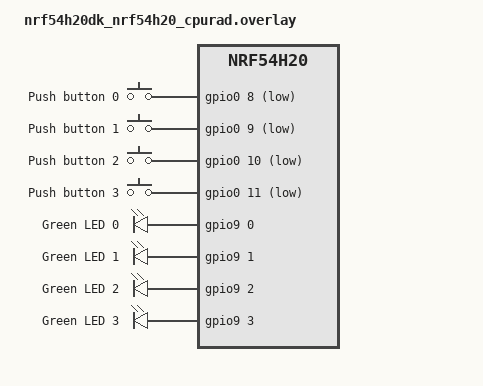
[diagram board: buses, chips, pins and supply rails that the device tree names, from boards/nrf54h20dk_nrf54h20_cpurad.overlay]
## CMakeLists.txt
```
#
# Copyright (c) 2018 Nordic Semiconductor
#
# SPDX-License-Identifier: LicenseRef-Nordic-5-Clause
#
cmake_minimum_required(VERSION 3.20.0)
list(APPEND EXTRA_ZEPHYR_MODULES
  ${CMAKE_CURRENT_SOURCE_DIR}/../custom_driver_module)

find_package(Zephyr REQUIRED HINTS $ENV{ZEPHYR_BASE})
project(nrf5340)

# Add nanopb support for protobuf
list(APPEND CMAKE_MODULE_PATH ${ZEPHYR_BASE}/modules/nanopb)
include(nanopb)

set(LVGL_DIR ${ZEPHYR_LVGL_MODULE_DIR})
FILE(GLOB app_sources src/*.c)
target_include_directories(app PRIVATE ${CMAKE_CURRENT_SOURCE_DIR}/src/.)
target_include_directories(app PRIVATE ${LVGL_DIR}/demos/)

# NORDIC SDK APP START
target_sources(app PRIVATE
  src/main.c
  src/protobuf_handler.c
)

# Add protobuf sources when available
if(EXISTS ${CMAKE_CURRENT_SOURCE_DIR}/src/mentraos_ble.pb.c)
  target_sources(app PRIVATE src/mentraos_ble.pb.c)
endif()

add_subdirectory(src/BspLog)
add_subdirectory(src/mos_components/mos_sysport)
add_subdirectory(src/mos_components/mos_lvgl_display)


target_sources_ifdef(CONFIG_LV_USE_DEMO_BENCHMARK app PRIVATE
    ${LVGL_DIR}/demos/benchmark/assets/img_benchmark_avatar.c
    ${LVGL_DIR}/demos/benchmark/assets/img_benchmark_lvgl_logo_argb.c
    ${LVGL_DIR}/demos/benchmark/assets/img_benchmark_lvgl_logo_rgb.c
    ${LVGL_DIR}/demos/benchmark/assets/lv_font_benchmark_montserrat_12_compr_az.c.c
    ${LVGL_DIR}/demos/benchmark/assets/lv_font_benchmark_montserrat_16_compr_az.c.c
    ${LVGL_DIR}/demos/benchmark/assets/lv_font_benchmark_montserrat_28_compr_az.c.c
    ${LVGL_DIR}/demos/benchmark/lv_demo_benchmark.c
)

target_sources_ifdef(CONFIG_LV_USE_DEMO_WIDGETS app PRIVATE
    ${LVGL_DIR}/demos/widgets/assets/img_clothes.c
    ${LVGL_DIR}/demos/widgets/assets/img_demo_widgets_avatar.c
    ${LVGL_DIR}/demos/widgets/assets/img_demo_widgets_needle.c
    ${LVGL_DIR}/demos/widgets/assets/img_lvgl_logo.c
    ${LVGL_DIR}/demos/widgets/lv_demo_widgets.c
)

zephyr_library_include_directories(.)
# NORDIC SDK APP END
```

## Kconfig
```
#
# Copyright (c) 2018 Nordic Semiconductor
#
# SPDX-License-Identifier: LicenseRef-Nordic-5-Clause
#

source "Kconfig.zephyr"


menu "Nordic UART BLE GATT service sample"

config BT_NUS_THREAD_STACK_SIZE
	int "Thread stack size"
	default 1024
	help
	  Stack size used in each of the two threads

config BT_NUS_UART_BUFFER_SIZE
	int "UART payload buffer element size"
	default 40
	help
	  Size of the payload buffer in each RX and TX FIFO element

config BT_NUS_SECURITY_ENABLED
	bool "Enable security"
	default y
	select BT_SMP
	help
	  "Enable BLE security for the UART service"

config BT_NUS_UART_RX_WAIT_TIME
	int "Timeout for UART RX complete event"
	default 50000
	help
	  Wait for RX complete event time in microseconds

config SETTINGS
	default y

config ZMS
	default y if (SOC_FLASH_NRF_RRAM || SOC_FLASH_NRF_MRAM)

config NVS
	default y if !(SOC_FLASH_NRF_RRAM || SOC_FLASH_NRF_MRAM)

config LV_Z_DEMO_BENCHMARK
	bool "LVGL benchmark demo"
	select LV_USE_DEMO_BENCHMARK
	select LV_USE_DEMO_WIDGETS
	help
	  Build benchmarking demo application.

endmenu
```

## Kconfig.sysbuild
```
#
# Copyright (c) 2023 Nordic Semiconductor
#
# SPDX-License-Identifier: LicenseRef-Nordic-5-Clause
#

source "share/sysbuild/Kconfig"

config NRF_DEFAULT_IPC_RADIO
	default y

config NETCORE_IPC_RADIO_BT_HCI_IPC
	default y
```

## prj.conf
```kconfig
#
# Copyright (c) 2018 Nordic Semiconductor
#
# SPDX-License-Identifier: LicenseRef-Nordic-5-Clause
#

# Enable the UART driver
CONFIG_UART_ASYNC_API=n
CONFIG_NRFX_UARTE0=n
CONFIG_SERIAL=n

CONFIG_GPIO=y

# Enable RTT logging instead of UART (for custom board without UART access)
CONFIG_USE_SEGGER_RTT=y
CONFIG_LOG_BACKEND_RTT=y
CONFIG_LOG_BACKEND_UART=n
CONFIG_LOG_PRINTK=n

# Make sure printk is printing to the RTT console
CONFIG_CONSOLE=y
# CONFIG_UART_CONSOLE=y

CONFIG_HEAP_MEM_POOL_SIZE=4096

CONFIG_BT=y
CONFIG_BT_PERIPHERAL=y
CONFIG_BT_DEVICE_NAME="Nordic_UART_Service"
CONFIG_BT_MAX_CONN=1
CONFIG_BT_MAX_PAIRED=1

# Enable the NUS service
CONFIG_BT_NUS=y

# Enable bonding
CONFIG_BT_SETTINGS=y
CONFIG_FLASH=y
CONFIG_FLASH_PAGE_LAYOUT=y
CONFIG_FLASH_MAP=y

# Enable DK LED and Buttons library
CONFIG_DK_LIBRARY=y

CONFIG_SYSTEM_WORKQUEUE_STACK_SIZE=2048
# Config logger
CONFIG_LOG=y
CONFIG_USE_SEGGER_RTT=y
CONFIG_LOG_BACKEND_RTT=y
CONFIG_LOG_BACKEND_UART=n
CONFIG_LOG_PRINTK=n

CONFIG_ASSERT=y

# 设置log延时模式
CONFIG_LOG_MODE_DEFERRED=y
#设置log同步模式
CONFIG_LOG_MODE_IMMEDIATE=n
#设置log最小模式
CONFIG_LOG_MODE_MINIMAL=n
#允许丢弃旧的消息
CONFIG_LOG_MODE_OVERFLOW=n
#设置log缓存大小
CONFIG_LOG_BUFFER_SIZE=1024
# # 设置log打印级别
# CONFIG_LOG_DEFAULT_LEVEL=4
# #设置INFO级别log颜色为绿色
# CONFIG_LOG_INFO_COLOR_GREEN=y
# # #设置log打印错误为红色警告为黄色
# CONFIG_LOG_BACKEND_SHOW_COLOR=y
# 开启log打印模块
CONFIG_CONSOLE=y

# Config logger
CONFIG_LOG=y
# 开启rtt log打印
CONFIG_USE_SEGGER_RTT=y 
# 开启rtt log打印缓冲
CONFIG_LOG_BACKEND_RTT=y 
CONFIG_LOG_BACKEND_UART=n
# 开启log打印模块，接管printk打印
CONFIG_LOG_PRINTK=y         
CONFIG_ASSERT=y
 # 开启/ 关闭log rtt打印模块
CONFIG_RTT_CONSOLE=y   
# 开启/关闭log串口打印模块
CONFIG_UART_CONSOLE=n   

CONFIG_LOG_MODE_IMMEDIATE=y 
# 配置rtt打印缓存大小
CONFIG_SEGGER_RTT_BUFFER_SIZE_UP=4096
# 浮点打印开关，占用code 1K左右
CONFIG_CBPRINTF_FP_SUPPORT=y


CONFIG_LVGL=y
# # CONFIG_LV_Z_MEM_POOL_SIZE=49152
CONFIG_LV_Z_MEM_POOL_SIZE=102400
# CONFIG_LV_Z_SHELL=y
CONFIG_LV_USE_MONKEY=y
CONFIG_LV_COLOR_DEPTH_1=y

CONFIG_INPUT=y

CONFIG_LV_FONT_MONTSERRAT_12=y
CONFIG_LV_FONT_MONTSERRAT_14=y
CONFIG_LV_FONT_MONTSERRAT_16=y
CONFIG_LV_FONT_MONTSERRAT_18=y
CONFIG_LV_FONT_MONTSERRAT_24=y
CONFIG_LV_FONT_MONTSERRAT_30=y
CONFIG_LV_FONT_MONTSERRAT_48=y

CONFIG_LV_USE_FONT_COMPRESSED=y
CONFIG_DISPLAY_LOG_LEVEL_ERR=y
CONFIG_LV_USE_LOG=y
# CONFIG_LV_Z_LOG_LEVEL=2
CONFIG_LV_Z_DEMO_BENCHMARK=y
# CONFIG_LV_Z_AUTO_INIT=n
CONFIG_LV_Z_DOUBLE_VDB=y
#修改了这里的值，注意驱动层的缓冲buff长度 ，不要超过20%
CONFIG_LV_Z_VDB_SIZE=10
CONFIG_LV_Z_VDB_CUSTOM_SECTION=n

# CONFIG_LV_USE_SYSMON=y
# CONFIG_LV_USE_PERF_MONITOR=y

CONFIG_DISPLAY=y
CONFIG_CUSTOM_HLS12VGA=y

CONFIG_PM_DEVICE=y
CONFIG_NRFX_TWIM0=y

CONFIG_SPI=y

CONFIG_ASSERT=y

# Enable nanopb for protobuf support
CONFIG_NANOPB=y
```

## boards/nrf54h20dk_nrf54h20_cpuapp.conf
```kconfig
#
# Copyright (c) 2024 Nordic Semiconductor
#
# SPDX-License-Identifier: LicenseRef-Nordic-5-Clause
#

# Disable the unspupported UART0 driver
CONFIG_NRFX_UARTE0=n

# Don't get entropy from HCI on nRF54H20 devices
CONFIG_BT_HOST_CRYPTO_PRNG=y
CONFIG_ENTROPY_BT_HCI=n
```

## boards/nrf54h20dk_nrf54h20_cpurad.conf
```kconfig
#
# Copyright (c) 2024 Nordic Semiconductor
#
# SPDX-License-Identifier: LicenseRef-Nordic-5-Clause
#

# Disable the unspupported UART0 driver
CONFIG_NRFX_UARTE0=n
```

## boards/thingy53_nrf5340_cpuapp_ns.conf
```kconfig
#
# Copyright (c) 2021 Nordic Semiconductor ASA
#
# SPDX-License-Identifier: LicenseRef-Nordic-5-Clause
#
################################################################################
# Application overlay - Thingy:53 DFU

CONFIG_NCS_SAMPLE_MCUMGR_BT_OTA_DFU=y

CONFIG_SYSTEM_WORKQUEUE_STACK_SIZE=4096

################################################################################
# Configure USB CDC ACM

CONFIG_USB_DEVICE_PRODUCT="Thingy:53 Nordic UART Service sample"
CONFIG_USB_DEVICE_PID=0x530E
CONFIG_USB_COMPOSITE_DEVICE=y

# Enable back logging over UART as this sample config uses only RTT by default
CONFIG_LOG_BACKEND_UART=y

CONFIG_UART_ASYNC_ADAPTER=y
CONFIG_UART_INTERRUPT_DRIVEN=y

# Disable the UARTE0 enabled in default project configuration
CONFIG_NRFX_UARTE0=n
CONFIG_UART_NRFX=n
```

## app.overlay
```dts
/*
 * Copyright (c) 2022 Nordic Semiconductor ASA
 *
 * SPDX-License-Identifier: LicenseRef-Nordic-5-Clause
 */

/ {
	chosen {
		// nordic,nus-uart = &uart0;
		zephyr,display = &hls12vga;
	};
};
&spi4 {
	compatible = "nordic,nrf-spim";
	status = "okay";
	cs-gpios = <&gpio0 0 GPIO_ACTIVE_HIGH>;
	pinctrl-0 = <&spi4_default>;
	pinctrl-1 = <&spi4_sleep>;
	pinctrl-names = "default", "sleep";
	hls12vga: hls12vga@0 {
		compatible = "zephyr,custom-hls12vga";
		status = "okay";
		reg = <0>;
		spi-max-frequency = <32000000>;
		left_cs-gpios = <&gpio0 11 GPIO_ACTIVE_HIGH>;
		right_cs-gpios = <&gpio0 12 GPIO_ACTIVE_HIGH>;
		reset-gpios = <&gpio1 01 GPIO_ACTIVE_HIGH>;
		vcom-gpios = <&gpio0 7 GPIO_ACTIVE_HIGH>;
		v1_8-gpios = <&gpio0 6 GPIO_ACTIVE_HIGH>;
		v0_9-gpios = <&gpio0 5 GPIO_ACTIVE_HIGH>;

		width = <640>;           // 屏幕宽度 (像素)
		// height = <240>;          // 屏幕高度 (像素)
		height = <480>;          // 屏幕高度 (像素)
	};
};

&pinctrl {
	spi4_default: spi4_default {
		group1 {
			psels = <NRF_PSEL(SPIM_SCK, 0, 8)>,
			        <NRF_PSEL(SPIM_MISO, 0, 10)>,
			        <NRF_PSEL(SPIM_MOSI, 0, 9)>;
			nordic,drive-mode = <NRF_DRIVE_E0E1>;
		};
	};
	spi4_sleep: spi4_sleep {
		group1 {
			psels = <NRF_PSEL(SPIM_SCK, 0, 8)>,
			        <NRF_PSEL(SPIM_MISO, 0, 10)>,
			        <NRF_PSEL(SPIM_MOSI, 0, 9)>;
			low-power-enable;
		};
	};
};

&uart0 {
	status = "disabled";
};

&gpio_fwd {
	uart {
		gpios = <&gpio0 11 0>, <&gpio0 10 0>;
	};
};


/delete-node/ &mx25r64;
&qspi {
	status = "okay";
	pinctrl-0 = <&qspi_default>;
	pinctrl-1 = <&qspi_sleep>;
	pinctrl-names = "default", "sleep";
	mx25u256: mx25u256@0 {
		compatible = "nordic,qspi-nor";
		reg = <0>;
		/* MX25U256 supports only pp and pp4io */
		writeoc = "pp4io";
		/* MX25U256 supports all readoc options */
		readoc = "read4io";
		sck-frequency = <32000000>;//最高 48Mhz
		address-size-32;
		enter-4byte-addr = <0xb7>;
		jedec-id = [ c2 25 39  ];
		sfdp-bfp = [ 
			e5 20 fb ff ff ff ff 0f 44 eb 08 6b 08 3b 04 bb 
			fe ff ff ff ff ff 00 ff ff ff 44 eb 0c 20 0f 52 
			10 d8 00 ff 25 52 dd 00 84 a5 04 e2 44 03 17 38 
			30 b0 30 b0 f7 bd d5 5c 4a 9e 29 ff f0 50 f9 85 ];
		size = <0x2000000>;// 32M
		has-dpd;
		t-enter-dpd = <10000>;
		t-exit-dpd = <35000>;
	};
};
```

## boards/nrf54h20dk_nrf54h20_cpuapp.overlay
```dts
/*
 * Copyright (c) 2024 Nordic Semiconductor ASA
 *
 * SPDX-License-Identifier: LicenseRef-Nordic-5-Clause
 */

/ {
	chosen {
		nordic,nus-uart = &uart136;
	};
};
```

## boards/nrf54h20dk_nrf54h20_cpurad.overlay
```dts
/*
 * Copyright (c) 2024 Nordic Semiconductor ASA
 *
 * SPDX-License-Identifier: LicenseRef-Nordic-5-Clause
 */

/ {
	chosen {
		nordic,nus-uart = &uart135;
		zephyr,settings_partition = &cpurad_storage_partition;
	};

	/* LEDs and buttons definitions are required for the DK Buttons and
	 * LEDs module.
	 */

	aliases {
		led0 = &led0;
		led1 = &led1;
		led2 = &led2;
		led3 = &led3;

		sw0 = &button0;
		sw1 = &button1;
		sw2 = &button2;
		sw3 = &button3;
	};

	buttons {
		compatible = "gpio-keys";

		button0: button_0 {
			gpios = <&gpio0 8 (GPIO_PULL_UP | GPIO_ACTIVE_LOW)>;
			label = "Push button 0";
			zephyr,code = <INPUT_KEY_0>;
		};

		button1: button_1 {
			gpios = <&gpio0 9 (GPIO_PULL_UP | GPIO_ACTIVE_LOW)>;
			label = "Push button 1";
			zephyr,code = <INPUT_KEY_1>;
		};

		button2: button_2 {
			gpios = <&gpio0 10 (GPIO_PULL_UP | GPIO_ACTIVE_LOW)>;
			label = "Push button 2";
			zephyr,code = <INPUT_KEY_2>;
		};

		button3: button_3 {
			gpios = <&gpio0 11 (GPIO_PULL_UP | GPIO_ACTIVE_LOW)>;
			label = "Push button 3";
			zephyr,code = <INPUT_KEY_3>;
		};
	};

	leds {
		compatible = "gpio-leds";

		led0: led_0 {
			gpios = <&gpio9 0 GPIO_ACTIVE_HIGH>;
			label = "Green LED 0";
		};

		led1: led_1 {
			gpios = <&gpio9 1 GPIO_ACTIVE_HIGH>;
			label = "Green LED 1";
		};

		led2: led_2 {
			gpios = <&gpio9 2 GPIO_ACTIVE_HIGH>;
			label = "Green LED 2";
		};

		led3: led_3 {
			gpios = <&gpio9 3 GPIO_ACTIVE_HIGH>;
			label = "Green LED 3";
		};
	};
};

&gpio0 {
	status = "okay";
};

&gpio9 {
	status = "okay";
};

&gpiote130 {
	status = "okay";
	owned-channels = <4 5 6 7>;
};

/* Change to memory map to make room for read write partition for settings
 * module and increase the radio core program memory size.
 *
 * @note In case of running firmware on the application core, the same memory map
 * change must be applied to the application core DTS.
 */
/delete-node/ &dfu_partition;
/delete-node/ &storage_partition;
/delete-node/ &cpuapp_slot0_partition;

&cpuapp_rw_partitions {
	dfu_partition: partition@100000 {
		reg = < 0x100000 DT_SIZE_K(884) >;
	};

	storage_partition: partition@1dd000 {
		reg = < 0x1dd000 DT_SIZE_K(24) >;
	};
};

&cpurad_rx_partitions {
	cpurad_slot0_partition: partition@54000 {
		reg = <0x54000 DT_SIZE_K(320)>;
	};
};

&cpuapp_rx_partitions {
	cpuapp_slot0_partition: partition@a4000 {
		reg = <0xa4000 DT_SIZE_K(256)>;
	};
};

&mram1x {
	cpurad_rw_partitions: cpurad-rw-partitions {
		compatible = "nordic,owned-partitions", "fixed-partitions";
		nordic,access = <NRF_OWNER_ID_RADIOCORE NRF_PERM_RWS>;
		#address-cells = <1>;
		#size-cells = <1>;

		cpurad_storage_partition: partition@1e3000 {
			reg = <0x1e3000 DT_SIZE_K(24)>;
		};
	};
};

&cpurad_rw_partitions {
	status = "okay";
};
```

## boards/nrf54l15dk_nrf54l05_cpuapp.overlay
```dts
/*
 * Copyright (c) 2024 Nordic Semiconductor ASA
 *
 * SPDX-License-Identifier: LicenseRef-Nordic-5-Clause
 */

/ {
	chosen {
		nordic,nus-uart = &uart20;
	};
};
```

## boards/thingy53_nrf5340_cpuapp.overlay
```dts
/*
 * Copyright (c) 2021 Nordic Semiconductor ASA
 *
 * SPDX-License-Identifier: LicenseRef-Nordic-5-Clause
 */

/ {
	chosen {
		nordic,nus-uart = &cdc_acm_uart1;
	};
};

&zephyr_udc0 {
	cdc_acm_uart1: cdc_acm_uart1 {
		compatible = "zephyr,cdc-acm-uart";
	};
};
```

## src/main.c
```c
/*
 * Copyright (c) 2018 Nordic Semiconductor ASA
 *
 * SPDX-License-Identifier: LicenseRef-Nordic-5-Clause
 */

/** @file
 *  @brief Nordic UART Bridge Service (NUS) sample
 */
#include <uart_async_adapter.h>

#include <zephyr/types.h>
#include <zephyr/kernel.h>
#include <zephyr/drivers/uart.h>
#include <zephyr/usb/usb_device.h>

#include <zephyr/device.h>
#include <zephyr/devicetree.h>
#include <soc.h>

#include <zephyr/bluetooth/bluetooth.h>
#include <zephyr/bluetooth/uuid.h>
#include <zephyr/bluetooth/gatt.h>
#include <zephyr/bluetooth/hci.h>

#include <bluetooth/services/nus.h>

#include <dk_buttons_and_leds.h>

#include <zephyr/settings/settings.h>

#include <stdio.h>
#include <string.h>

#include <zephyr/logging/log.h>


#include "nrfx_clock.h"
#include "bsp_log.h"
#include "mos_lvgl_display.h"
#include "protobuf_handler.h"


#define LOG_MODULE_NAME peripheral_uart
LOG_MODULE_REGISTER(LOG_MODULE_NAME);

#define STACKSIZE CONFIG_BT_NUS_THREAD_STACK_SIZE
#define PRIORITY 7

#define DEVICE_NAME CONFIG_BT_DEVICE_NAME
#define DEVICE_NAME_LEN (sizeof(DEVICE_NAME) - 1)

#define RUN_STATUS_LED DK_LED1
#define RUN_LED_BLINK_INTERVAL 1000

#define CON_STATUS_LED DK_LED2

#define KEY_PASSKEY_ACCEPT DK_BTN1_MSK
#define KEY_PASSKEY_REJECT DK_BTN2_MSK

#define UART_BUF_SIZE CONFIG_BT_NUS_UART_BUFFER_SIZE
#define UART_WAIT_FOR_BUF_DELAY K_MSEC(50)
#define UART_WAIT_FOR_RX CONFIG_BT_NUS_UART_RX_WAIT_TIME

static K_SEM_DEFINE(ble_init_ok, 0, 1);

static struct bt_conn *current_conn;
static struct bt_conn *auth_conn;
static struct k_work adv_work;

// static const struct device *uart = DEVICE_DT_GET(DT_CHOSEN(nordic_nus_uart));
static struct k_work_delayable uart_work;
#define TAG "MAIN"
struct uart_data_t
{
	void *fifo_reserved;
	uint8_t data[UART_BUF_SIZE];
	uint16_t len;
};

static K_FIFO_DEFINE(fifo_uart_tx_data);
static K_FIFO_DEFINE(fifo_uart_rx_data);

static const struct bt_data ad[] = {
	BT_DATA_BYTES(BT_DATA_FLAGS, (BT_LE_AD_GENERAL | BT_LE_AD_NO_BREDR)),
	BT_DATA(BT_DATA_NAME_COMPLETE, DEVICE_NAME, DEVICE_NAME_LEN),
};

static const struct bt_data sd[] = {
	BT_DATA_BYTES(BT_DATA_UUID128_ALL, BT_UUID_NUS_VAL),
};

#ifdef CONFIG_UART_ASYNC_ADAPTER
UART_ASYNC_ADAPTER_INST_DEFINE(async_adapter);
#else
#define async_adapter NULL
#endif
#if 0
static void uart_cb(const struct device *dev, struct uart_event *evt, void *user_data)
{
	ARG_UNUSED(dev);

	static size_t aborted_len;
	struct uart_data_t *buf;
	static uint8_t *aborted_buf;
	static bool disable_req;

	switch (evt->type) {
	case UART_TX_DONE:
		LOG_DBG("UART_TX_DONE");
		if ((evt->data.tx.len == 0) ||
		    (!evt->data.tx.buf)) {
			return;
		}

		if (aborted_buf) {
			buf = CONTAINER_OF(aborted_buf, struct uart_data_t,
					   data[0]);
			aborted_buf = NULL;
			aborted_len = 0;
		} else {
			buf = CONTAINER_OF(evt->data.tx.buf, struct uart_data_t,
					   data[0]);
		}

		k_free(buf);

		buf = k_fifo_get(&fifo_uart_tx_data, K_NO_WAIT);
		if (!buf) {
			return;
		}

		if (uart_tx(uart, buf->data, buf->len, SYS_FOREVER_MS)) {
			LOG_WRN("Failed to send data over UART");
		}

		break;

	case UART_RX_RDY:
		LOG_DBG("UART_RX_RDY");
		buf = CONTAINER_OF(evt->data.rx.buf, struct uart_data_t, data[0]);
		buf->len += evt->data.rx.len;

		if (disable_req) {
			return;
		}

		if ((evt->data.rx.buf[buf->len - 1] == '\n') ||
		    (evt->data.rx.buf[buf->len - 1] == '\r')) {
			disable_req = true;
			uart_rx_disable(uart);
		}

		break;

	case UART_RX_DISABLED:
		LOG_DBG("UART_RX_DISABLED");
		disable_req = false;

		buf = k_malloc(sizeof(*buf));
		if (buf) {
			buf->len = 0;
		} else {
			LOG_WRN("Not able to allocate UART receive buffer");
			k_work_reschedule(&uart_work, UART_WAIT_FOR_BUF_DELAY);
			return;
		}

		uart_rx_enable(uart, buf->data, sizeof(buf->data),
			       UART_WAIT_FOR_RX);

		break;

	case UART_RX_BUF_REQUEST:
		LOG_DBG("UART_RX_BUF_REQUEST");
		buf = k_malloc(sizeof(*buf));
		if (buf) {
			buf->len = 0;
			uart_rx_buf_rsp(uart, buf->data, sizeof(buf->data));
		} else {
			LOG_WRN("Not able to allocate UART receive buffer");
		}

		break;

	case UART_RX_BUF_RELEASED:
		LOG_DBG("UART_RX_BUF_RELEASED");
		buf = CONTAINER_OF(evt->data.rx_buf.buf, struct uart_data_t,
				   data[0]);

		if (buf->len > 0) {
			k_fifo_put(&fifo_uart_rx_data, buf);
		} else {
			k_free(buf);
		}

		break;

	case UART_TX_ABORTED:
		LOG_DBG("UART_TX_ABORTED");
		if (!aborted_buf) {
			aborted_buf = (uint8_t *)evt->data.tx.buf;
		}

		aborted_len += evt->data.tx.len;
		buf = CONTAINER_OF((void *)aborted_buf, struct uart_data_t,
				   data);

		uart_tx(uart, &buf->data[aborted_len],
			buf->len - aborted_len, SYS_FOREVER_MS);

		break;

	default:
		break;
	}
}

static void uart_work_handler(struct k_work *item)
{
	struct uart_data_t *buf;

	buf = k_malloc(sizeof(*buf));
	if (buf) {
		buf->len = 0;
	} else {
		LOG_WRN("Not able to allocate UART receive buffer");
		k_work_reschedule(&uart_work, UART_WAIT_FOR_BUF_DELAY);
		return;
	}

	uart_rx_enable(uart, buf->data, sizeof(buf->data), UART_WAIT_FOR_RX);
}

static bool uart_test_async_api(const struct device *dev)
{
	const struct uart_driver_api *api =
			(const struct uart_driver_api *)dev->api;

	return (api->callback_set != NULL);
}

static int uart_init(void)
{
	int err;
	int pos;
	struct uart_data_t *rx;
	struct uart_data_t *tx;

	if (!device_is_ready(uart)) {
		return -ENODEV;
	}

	if (IS_ENABLED(CONFIG_USB_DEVICE_STACK)) {
		err = usb_enable(NULL);
		if (err && (err != -EALREADY)) {
			LOG_ERR("Failed to enable USB");
			return err;
		}
	}

	rx = k_malloc(sizeof(*rx));
	if (rx) {
		rx->len = 0;
	} else {
		return -ENOMEM;
	}

	k_work_init_delayable(&uart_work, uart_work_handler);


	if (IS_ENABLED(CONFIG_UART_ASYNC_ADAPTER) && !uart_test_async_api(uart)) {
		/* Implement API adapter */
		uart_async_adapter_init(async_adapter, uart);
		uart = async_adapter;
	}

	err = uart_callback_set(uart, uart_cb, NULL);
	if (err) {
		k_free(rx);
		LOG_ERR("Cannot initialize UART callback");
		return err;
	}

	if (IS_ENABLED(CONFIG_UART_LINE_CTRL)) {
		LOG_INF("Wait for DTR");
		while (true) {
			uint32_t dtr = 0;

			uart_line_ctrl_get(uart, UART_LINE_CTRL_DTR, &dtr);
			if (dtr) {
				break;
			}
			/* Give CPU resources to low priority threads. */
			k_sleep(K_MSEC(100));
		}
		LOG_INF("DTR set");
		err = uart_line_ctrl_set(uart, UART_LINE_CTRL_DCD, 1);
		if (err) {
			LOG_WRN("Failed to set DCD, ret code %d", err);
		}
		err = uart_line_ctrl_set(uart, UART_LINE_CTRL_DSR, 1);
		if (err) {
			LOG_WRN("Failed to set DSR, ret code %d", err);
		}
	}

	tx = k_malloc(sizeof(*tx));

	if (tx) {
		pos = snprintf(tx->data, sizeof(tx->data),
			       "Starting Nordic UART service sample\r\n");

		if ((pos < 0) || (pos >= sizeof(tx->data))) {
			k_free(rx);
			k_free(tx);
			LOG_ERR("snprintf returned %d", pos);
			return -ENOMEM;
		}

		tx->len = pos;
	} else {
		k_free(rx);
		return -ENOMEM;
	}

	err = uart_tx(uart, tx->data, tx->len, SYS_FOREVER_MS);
	if (err) {
		k_free(rx);
		k_free(tx);
		LOG_ERR("Cannot display welcome message (err: %d)", err);
		return err;
	}

	err = uart_rx_enable(uart, rx->data, sizeof(rx->data), UART_WAIT_FOR_RX);
	if (err) {
		LOG_ERR("Cannot enable uart reception (err: %d)", err);
		/* Free the rx buffer only because the tx buffer will be handled in the callback */
		k_free(rx);
	}

	return err;
}
#endif
static void adv_work_handler(struct k_work *work)
{
	int err = bt_le_adv_start(BT_LE_ADV_CONN_FAST_2, ad, ARRAY_SIZE(ad), sd, ARRAY_SIZE(sd));

	if (err)
	{
		LOG_ERR("Advertising failed to start (err %d)", err);
		return;
	}

	LOG_INF("Advertising successfully started");
}

static void advertising_start(void)
{
	k_work_submit(&adv_work);
}

static void connected(struct bt_conn *conn, uint8_t err)
{
	char addr[BT_ADDR_LE_STR_LEN];

	if (err)
	{
		LOG_ERR("Connection failed, err 0x%02x %s", err, bt_hci_err_to_str(err));
		return;
	}

	bt_addr_le_to_str(bt_conn_get_dst(conn), addr, sizeof(addr));
	LOG_INF("Connected %s", addr);

	current_conn = bt_conn_ref(conn);

	dk_set_led_on(CON_STATUS_LED);
}

static void disconnected(struct bt_conn *conn, uint8_t reason)
{
	char addr[BT_ADDR_LE_STR_LEN];

	bt_addr_le_to_str(bt_conn_get_dst(conn), addr, sizeof(addr));

	LOG_INF("Disconnected: %s, reason 0x%02x %s", addr, reason, bt_hci_err_to_str(reason));

	if (auth_conn)
	{
		bt_conn_unref(auth_conn);
		auth_conn = NULL;
	}

	if (current_conn)
	{
		bt_conn_unref(current_conn);
		current_conn = NULL;
		dk_set_led_off(CON_STATUS_LED);
	}
}

static void recycled_cb(void)
{
	LOG_INF("Connection object available from previous conn. Disconnect is complete!");
	advertising_start();
}

#ifdef CONFIG_BT_NUS_SECURITY_ENABLED
static void security_changed(struct bt_conn *conn, bt_security_t level,
							 enum bt_security_err err)
{
	char addr[BT_ADDR_LE_STR_LEN];

	bt_addr_le_to_str(bt_conn_get_dst(conn), addr, sizeof(addr));

	if (!err)
	{
		LOG_INF("Security changed: %s level %u", addr, level);
	}
	else
	{
		LOG_WRN("Security failed: %s level %u err %d %s", addr, level, err,
				bt_security_err_to_str(err));
	}
}
#endif

BT_CONN_CB_DEFINE(conn_callbacks) = {
	.connected = connected,
	.disconnected = disconnected,
	.recycled = recycled_cb,
#ifdef CONFIG_BT_NUS_SECURITY_ENABLED
	.security_changed = security_changed,
#endif
};

#if defined(CONFIG_BT_NUS_SECURITY_ENABLED)
static void auth_passkey_display(struct bt_conn *conn, unsigned int passkey)
{
	char addr[BT_ADDR_LE_STR_LEN];

	bt_addr_le_to_str(bt_conn_get_dst(conn), addr, sizeof(addr));

	LOG_INF("Passkey for %s: %06u", addr, passkey);
}

static void auth_passkey_confirm(struct bt_conn *conn, unsigned int passkey)
{
	char addr[BT_ADDR_LE_STR_LEN];

	auth_conn = bt_conn_ref(conn);

	bt_addr_le_to_str(bt_conn_get_dst(conn), addr, sizeof(addr));

	LOG_INF("Passkey for %s: %06u", addr, passkey);

	if (IS_ENABLED(CONFIG_SOC_SERIES_NRF54HX) || IS_ENABLED(CONFIG_SOC_SERIES_NRF54LX))
	{
		LOG_INF("Press Button 0 to confirm, Button 1 to reject.");
	}
	else
	{
		LOG_INF("Press Button 1 to confirm, Button 2 to reject.");
	}
}

static void auth_cancel(struct bt_conn *conn)
{
	char addr[BT_ADDR_LE_STR_LEN];

	bt_addr_le_to_str(bt_conn_get_dst(conn), addr, sizeof(addr));

	LOG_INF("Pairing cancelled: %s", addr);
}

static void pairing_complete(struct bt_conn *conn, bool bonded)
{
	char addr[BT_ADDR_LE_STR_LEN];

	bt_addr_le_to_str(bt_conn_get_dst(conn), addr, sizeof(addr));

	LOG_INF("Pairing completed: %s, bonded: %d", addr, bonded);
}

static void pairing_failed(struct bt_conn *conn, enum bt_security_err reason)
{
	char addr[BT_ADDR_LE_STR_LEN];

	bt_addr_le_to_str(bt_conn_get_dst(conn), addr, sizeof(addr));

	LOG_INF("Pairing failed conn: %s, reason %d %s", addr, reason,
			bt_security_err_to_str(reason));
}

static struct bt_conn_auth_cb conn_auth_callbacks = {
	.passkey_display = auth_passkey_display,
	.passkey_confirm = auth_passkey_confirm,
	.cancel = auth_cancel,
};

static struct bt_conn_auth_info_cb conn_auth_info_callbacks = {
	.pairing_complete = pairing_complete,
	.pairing_failed = pairing_failed};
#else
static struct bt_conn_auth_cb conn_auth_callbacks;
static struct bt_conn_auth_info_cb conn_auth_info_callbacks;
#endif

static void bt_receive_cb(struct bt_conn *conn, const uint8_t *const data,
						  uint16_t len)
{
	int err;
	char addr[BT_ADDR_LE_STR_LEN] = {0};

	bt_addr_le_to_str(bt_conn_get_dst(conn), addr, ARRAY_SIZE(addr));

	LOG_INF("Received data from: %s", addr);
	BSP_LOGI(TAG, "len:[%d] data:%s", len, data);

	// Add protobuf message analysis
	protobuf_analyze_message(data, len);

	#if 0
	for (uint16_t pos = 0; pos != len;)
	{
		struct uart_data_t *tx = k_malloc(sizeof(*tx));

		if (!tx)
		{
			LOG_WRN("Not able to allocate UART send data buffer");
			return;
		}

		/* Keep the last byte of TX buffer for potential LF char. */
		size_t tx_data_size = sizeof(tx->data) - 1;

		if ((len - pos) > tx_data_size)
		{
			tx->len = tx_data_size;
		}
		else
		{
			tx->len = (len - pos);
		}

		memcpy(tx->data, &data[pos], tx->len);

		pos += tx->len;

		/* Append the LF character when the CR character triggered
		 * transmission from the peer.
		 */
		if ((pos == len) && (data[len - 1] == '\r'))
		{
			tx->data[tx->len] = '\n';
			tx->len++;
		}

		err = uart_tx(uart, tx->data, tx->len, SYS_FOREVER_MS);
		if (err)
		{
			k_fifo_put(&fifo_uart_tx_data, tx);
		}
	}
	#endif
}

static struct bt_nus_cb nus_cb = {
	.received = bt_receive_cb,
};

void error(void)
{
	dk_set_leds_state(DK_ALL_LEDS_MSK, DK_NO_LEDS_MSK);

	while (true)
	{
		/* Spin for ever */
		k_sleep(K_MSEC(1000));
	}
}

#ifdef CONFIG_BT_NUS_SECURITY_ENABLED
static void num_comp_reply(bool accept)
{
	if (accept)
	{
		bt_conn_auth_passkey_confirm(auth_conn);
		LOG_INF("Numeric Match, conn %p", (void *)auth_conn);
	}
	else
	{
		bt_conn_auth_cancel(auth_conn);
		LOG_INF("Numeric Reject, conn %p", (void *)auth_conn);
	}

	bt_conn_unref(auth_conn);
	auth_conn = NULL;
}

void button_changed(uint32_t button_state, uint32_t has_changed)
{
	uint32_t buttons = button_state & has_changed;

	if (auth_conn)
	{
		if (buttons & KEY_PASSKEY_ACCEPT)
		{
			num_comp_reply(true);
		}

		if (buttons & KEY_PASSKEY_REJECT)
		{
			num_comp_reply(false);
		}
	}
}
#endif /* CONFIG_BT_NUS_SECURITY_ENABLED */

static void configure_gpio(void)
{
	int err;

#ifdef CONFIG_BT_NUS_SECURITY_ENABLED
	err = dk_buttons_init(button_changed);
	if (err)
	{
		LOG_ERR("Cannot init buttons (err: %d)", err);
	}
#endif /* CONFIG_BT_NUS_SECURITY_ENABLED */

	err = dk_leds_init();
	if (err)
	{
		LOG_ERR("Cannot init LEDs (err: %d)", err);
	}
}

int main(void)
{
	int blink_status = 0;
	int err = 0;

	configure_gpio();

	// err = uart_init();
	// if (err)
	// {
	// 	error();
	// }

	if (IS_ENABLED(CONFIG_BT_NUS_SECURITY_ENABLED))
	{
		err = bt_conn_auth_cb_register(&conn_auth_callbacks);
		if (err)
		{
			LOG_ERR("Failed to register authorization callbacks. (err: %d)", err);
			return 0;
		}

		err = bt_conn_auth_info_cb_register(&conn_auth_info_callbacks);
		if (err)
		{
			LOG_ERR("Failed to register authorization info callbacks. (err: %d)", err);
			return 0;
		}
	}

	err = bt_enable(NULL);
	if (err)
	{
		error();
	}

	LOG_INF("Bluetooth initialized");

	k_sem_give(&ble_init_ok);

	if (IS_ENABLED(CONFIG_SETTINGS))
	{
		settings_load();
	}

	err = bt_nus_init(&nus_cb);
	if (err)
	{
		LOG_ERR("Failed to initialize UART service (err: %d)", err);
		return 0;
	}

	k_work_init(&adv_work, adv_work_handler);
	advertising_start();
	lvgl_dispaly_thread();
	for (;;)
	{
		dk_set_led(RUN_STATUS_LED, (++blink_status) % 2);
		k_sleep(K_MSEC(RUN_LED_BLINK_INTERVAL));
	}
}
static int hfclock_config_and_start(void)
{
	int ret;
	/* Use this to turn on 128 MHz clock for cpu_app */
	ret = nrfx_clock_divider_set(NRF_CLOCK_DOMAIN_HFCLK, NRF_CLOCK_HFCLK_DIV_1);
	ret -= NRFX_ERROR_BASE_NUM;
	if (ret)
	{
		return ret;
	}
	nrfx_clock_hfclk_start();
	while (!nrfx_clock_hfclk_is_running())
	{
	}
	return 0;
}
// 初始化高频时钟128Mhz运行模式
// Initialize the high frequency clock 128 mhz operation mode
SYS_INIT(hfclock_config_and_start, POST_KERNEL, 0);

void ble_write_thread(void)
{
	/* Don't go any further until BLE is initialized */
	k_sem_take(&ble_init_ok, K_FOREVER);
	struct uart_data_t nus_data = {
		.len = 0,
	};

	for (;;)
	{
		/* Wait indefinitely for data to be sent over bluetooth */
		struct uart_data_t *buf = k_fifo_get(&fifo_uart_rx_data,
											 K_FOREVER);

		int plen = MIN(sizeof(nus_data.data) - nus_data.len, buf->len);
		int loc = 0;

		while (plen > 0)
		{
			memcpy(&nus_data.data[nus_data.len], &buf->data[loc], plen);
			nus_data.len += plen;
			loc += plen;

			if (nus_data.len >= sizeof(nus_data.data) ||
				(nus_data.data[nus_data.len - 1] == '\n') ||
				(nus_data.data[nus_data.len - 1] == '\r'))
			{
				if (bt_nus_send(NULL, nus_data.data, nus_data.len))
				{
					LOG_WRN("Failed to send data over BLE connection");
				}
				nus_data.len = 0;
			}

			plen = MIN(sizeof(nus_data.data) - nus_data.len, buf->len - loc);
		}

		k_free(buf);
	}
}

K_THREAD_DEFINE(ble_write_thread_id, STACKSIZE, ble_write_thread, NULL, NULL,
				NULL, PRIORITY, 0, 0);
```

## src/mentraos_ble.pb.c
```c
/* Automatically generated nanopb constant definitions */
/* Generated by nanopb-0.4.9.1 */

#include "mentraos_ble.pb.h"
#if PB_PROTO_HEADER_VERSION != 40
#error Regenerate this file with the current version of nanopb generator.
#endif

PB_BIND(mentraos_ble_PhoneToGlasses, mentraos_ble_PhoneToGlasses, AUTO)


PB_BIND(mentraos_ble_GlassesToPhone, mentraos_ble_GlassesToPhone, AUTO)


PB_BIND(mentraos_ble_DisconnectRequest, mentraos_ble_DisconnectRequest, AUTO)


PB_BIND(mentraos_ble_BatteryStateRequest, mentraos_ble_BatteryStateRequest, AUTO)


PB_BIND(mentraos_ble_BatteryStatus, mentraos_ble_BatteryStatus, AUTO)


PB_BIND(mentraos_ble_ChargingState, mentraos_ble_ChargingState, AUTO)


PB_BIND(mentraos_ble_GlassesInfoRequest, mentraos_ble_GlassesInfoRequest, AUTO)


PB_BIND(mentraos_ble_DeviceInfo, mentraos_ble_DeviceInfo, AUTO)


PB_BIND(mentraos_ble_DeviceFeatures, mentraos_ble_DeviceFeatures, AUTO)


PB_BIND(mentraos_ble_PairingModeRequest, mentraos_ble_PairingModeRequest, AUTO)


PB_BIND(mentraos_ble_HeadPositionRequest, mentraos_ble_HeadPositionRequest, AUTO)


PB_BIND(mentraos_ble_HeadPosition, mentraos_ble_HeadPosition, AUTO)


PB_BIND(mentraos_ble_HeadUpAngleConfig, mentraos_ble_HeadUpAngleConfig, AUTO)


PB_BIND(mentraos_ble_HeadUpAngleResponse, mentraos_ble_HeadUpAngleResponse, AUTO)


PB_BIND(mentraos_ble_PingRequest, mentraos_ble_PingRequest, AUTO)


PB_BIND(mentraos_ble_PongResponse, mentraos_ble_PongResponse, AUTO)


PB_BIND(mentraos_ble_MicStateConfig, mentraos_ble_MicStateConfig, AUTO)


PB_BIND(mentraos_ble_VadEnabledConfig, mentraos_ble_VadEnabledConfig, AUTO)


PB_BIND(mentraos_ble_VadConfig, mentraos_ble_VadConfig, AUTO)


PB_BIND(mentraos_ble_VadEvent, mentraos_ble_VadEvent, AUTO)


PB_BIND(mentraos_ble_DisplayText, mentraos_ble_DisplayText, AUTO)


PB_BIND(mentraos_ble_DisplayImage, mentraos_ble_DisplayImage, AUTO)


PB_BIND(mentraos_ble_PreloadImage, mentraos_ble_PreloadImage, AUTO)


PB_BIND(mentraos_ble_DisplayCachedImage, mentraos_ble_DisplayCachedImage, AUTO)


PB_BIND(mentraos_ble_ClearCachedImage, mentraos_ble_ClearCachedImage, AUTO)


PB_BIND(mentraos_ble_DisplayScrollingText, mentraos_ble_DisplayScrollingText, AUTO)


PB_BIND(mentraos_ble_DisplayPowerConfig, mentraos_ble_DisplayPowerConfig, AUTO)


PB_BIND(mentraos_ble_BrightnessConfig, mentraos_ble_BrightnessConfig, AUTO)


PB_BIND(mentraos_ble_AutoBrightnessConfig, mentraos_ble_AutoBrightnessConfig, AUTO)


PB_BIND(mentraos_ble_AutoBrightnessMultiplier, mentraos_ble_AutoBrightnessMultiplier, AUTO)


PB_BIND(mentraos_ble_DrawLine, mentraos_ble_DrawLine, AUTO)


PB_BIND(mentraos_ble_DrawRect, mentraos_ble_DrawRect, AUTO)


PB_BIND(mentraos_ble_DrawCircle, mentraos_ble_DrawCircle, AUTO)


PB_BIND(mentraos_ble_CommitDisplay, mentraos_ble_CommitDisplay, AUTO)


PB_BIND(mentraos_ble_DisplayDistanceConfig, mentraos_ble_DisplayDistanceConfig, AUTO)


PB_BIND(mentraos_ble_DisplayHeightConfig, mentraos_ble_DisplayHeightConfig, AUTO)


PB_BIND(mentraos_ble_ImageTransferComplete, mentraos_ble_ImageTransferComplete, AUTO)


PB_BIND(mentraos_ble_ImuEnabledConfig, mentraos_ble_ImuEnabledConfig, AUTO)


PB_BIND(mentraos_ble_ImuSingleRequest, mentraos_ble_ImuSingleRequest, AUTO)


PB_BIND(mentraos_ble_ImuStreamConfig, mentraos_ble_ImuStreamConfig, AUTO)


PB_BIND(mentraos_ble_ImuData, mentraos_ble_ImuData, AUTO)


PB_BIND(mentraos_ble_Vector3, mentraos_ble_Vector3, AUTO)


PB_BIND(mentraos_ble_ButtonEvent, mentraos_ble_ButtonEvent, AUTO)


PB_BIND(mentraos_ble_HeadGesture, mentraos_ble_HeadGesture, AUTO)


PB_BIND(mentraos_ble_HeadGestureConfig, mentraos_ble_HeadGestureConfig, AUTO)


PB_BIND(mentraos_ble_RestartRequest, mentraos_ble_RestartRequest, AUTO)


PB_BIND(mentraos_ble_FactoryResetRequest, mentraos_ble_FactoryResetRequest, AUTO)
```

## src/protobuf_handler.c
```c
/*
 * Copyright (c) 2024 Mentra
 *
 * SPDX-License-Identifier: Apache-2.0
 */

#include <zephyr/kernel.h>
#include <zephyr/logging/log.h>
#include <string.h>
#include <stdio.h>

#include "protobuf_handler.h"
#include "mentraos_ble.pb.h"
#include <bluetooth/services/nus.h>
#include <pb_decode.h>
#include <pb_encode.h>

LOG_MODULE_REGISTER(protobuf_handler, LOG_LEVEL_DBG);

// Global battery level state (0-100%)
static uint32_t current_battery_level = 85;

// Adapter function for BLE sending using Nordic UART Service
static int mentra_ble_send(struct bt_conn *conn, const uint8_t *data, uint16_t len)
{
	return bt_nus_send(conn, data, len);
}

void protobuf_analyze_message(const uint8_t *data, uint16_t len)
{
	if (len == 0) {
		LOG_WRN("Received empty data - ignoring");
		return;
	}

	LOG_INF("=== BLE DATA RECEIVED ===");
	LOG_INF("Received BLE data (%u bytes):", len);
	
	// Print hex dump
	for (int i = 0; i < len; i++) {
		printk("0x%02X ", data[i]);
		if ((i + 1) % 16 == 0) {
			printk("\n");
		}
	}
	if (len % 16 != 0) {
		printk("\n");
	}

	// Check if this looks like a protobuf message (starts with control header)
	uint8_t firstByte = data[0];
	switch (firstByte) {
	case 0x02:
		LOG_INF("[PROTOBUF] Control header detected: 0x02 (Protobuf message)");
		protobuf_parse_control_message(data + 1, len - 1);
		break;
	case 0xA0:
		LOG_INF("[AUDIO] Control header detected: 0xA0 (Audio data)");
		protobuf_parse_audio_chunk(data, len);
		break;
	case 0xB0:
		LOG_INF("[IMAGE] Control header detected: 0xB0 (Image data)");
		protobuf_parse_image_chunk(data, len);
		break;
	default:
		LOG_WRN("[UNKNOWN] Unknown control header: 0x%02X", firstByte);
		break;
	}

	// Show raw ASCII if printable
	LOG_INF("[ASCII] Raw string: \"");
	for (int i = 0; i < len; i++) {
		if (data[i] >= 32 && data[i] <= 126) {
			printk("%c", data[i]);
		} else {
			printk(".");
		}
	}
	printk("\"\n");
	LOG_INF("=== END BLE DATA ===");
}

void protobuf_parse_control_message(const uint8_t *protobuf_data, uint16_t len)
{
	LOG_INF("Parsing protobuf control message (%u bytes) using nanopb", len);
	
	if (len == 0) {
		LOG_WRN("Empty protobuf message");
		return;
	}

	// Try to decode as PhoneToGlasses message
	mentraos_ble_PhoneToGlasses phone_msg = mentraos_ble_PhoneToGlasses_init_default;
	
	if (decode_phone_to_glasses_message(protobuf_data, len, &phone_msg)) {
		LOG_INF("✅ Successfully decoded PhoneToGlasses message!");
		LOG_INF("Message type (which_payload): %u", phone_msg.which_payload);
		
		// Process the decoded message based on payload type
		switch (phone_msg.which_payload) {
		case 11: // battery_state_tag
			LOG_INF("📱 Battery state request received");
			LOG_INF("📊 Current battery level: %u%%", current_battery_level);
			// Send battery response
			protobuf_send_battery_notification();
			break;
			
		case 12: // glasses_info_tag  
			LOG_INF("📱 Glasses info request received");
			// TODO: Generate device info response
			break;
			
		case 10: // disconnect_tag
			LOG_INF("📱 Disconnect request received");
			// TODO: Handle disconnect
			break;
			
		case 30: // display_text_tag
			LOG_INF("📱 Display text received");
			// Access text safely - will need to check the DisplayText structure
			// TODO: Display text on glasses
			break;
			
		case 35: // display_scrolling_text_tag (estimated)
			LOG_INF("📱 Display scrolling text received");
			// TODO: Display scrolling text
			break;
			
		case 16: // ping_tag
			LOG_INF("📱 Ping request received");
			// TODO: Send pong response
			break;
			
		default:
			LOG_INF("📱 Unknown message type: %u", phone_msg.which_payload);
			break;
		}
		
	} else {
		LOG_ERR("❌ Failed to decode protobuf message - falling back to basic parsing");
		
		// Fallback to basic parsing for debugging
		for (int i = 0; i < len && i < 10; i++) {
			uint8_t field_tag = protobuf_data[i] >> 3;
			uint8_t wire_type = protobuf_data[i] & 0x07;
			
			LOG_DBG("Protobuf field: tag=%u, wire_type=%u", field_tag, wire_type);
		}
	}
}

bool decode_phone_to_glasses_message(const uint8_t *data, uint16_t len, 
                                    mentraos_ble_PhoneToGlasses *msg)
{
	if (!data || !msg || len == 0) {
		return false;
	}

	// Create input stream
	pb_istream_t stream = pb_istream_from_buffer(data, len);
	
	// Decode the message
	bool status = pb_decode(&stream, mentraos_ble_PhoneToGlasses_fields, msg);
	
	if (!status) {
		LOG_ERR("Protobuf decode error: %s", PB_GET_ERROR(&stream));
	}
	
	return status;
}

bool encode_glasses_to_phone_message(const mentraos_ble_GlassesToPhone *msg,
                                    uint8_t *buffer, size_t buffer_size,
                                    size_t *bytes_written)
{
	if (!msg || !buffer || !bytes_written) {
		return false;
	}

	// Create output stream
	pb_ostream_t stream = pb_ostream_from_buffer(buffer, buffer_size);
	
	// Encode the message
	bool status = pb_encode(&stream, mentraos_ble_GlassesToPhone_fields, msg);
	
	if (status) {
		*bytes_written = stream.bytes_written;
		LOG_DBG("Encoded %zu bytes", *bytes_written);
	} else {
		LOG_ERR("Protobuf encode error: %s", PB_GET_ERROR(&stream));
		*bytes_written = 0;
	}
	
	return status;
}

void protobuf_parse_audio_chunk(const uint8_t *data, uint16_t len)
{
	if (len < 2) {
		LOG_WRN("Audio chunk too short");
		return;
	}

	uint8_t stream_id = data[1];
	uint16_t audio_data_len = len - 2;
	
	LOG_INF("🎵 Audio chunk: stream_id=0x%02X, data_len=%u", stream_id, audio_data_len);
}

void protobuf_parse_image_chunk(const uint8_t *data, uint16_t len)
{
	if (len < 4) {
		LOG_WRN("Image chunk too short");
		return;
	}

	uint16_t stream_id = (data[1] << 8) | data[2];
	uint8_t chunk_index = data[3];
	uint16_t image_data_len = len - 4;
	
	LOG_INF("🖼️  Image chunk: stream_id=0x%04X, chunk_index=%u, data_len=%u", 
stream_id, chunk_index, image_data_len);
}

uint32_t protobuf_get_battery_level(void)
{
	return current_battery_level;
}

void protobuf_set_battery_level(uint32_t level)
{
	// Clamp battery level to valid range (0-100%)
	if (level > 100) {
		level = 100;
	}
	
	uint32_t old_level = current_battery_level;
	current_battery_level = level;
	LOG_INF("🔋 Battery level set to %u%%", current_battery_level);
	
	// Send proactive notification if level changed
	if (old_level != current_battery_level) {
		protobuf_send_battery_notification();
	}
}

void protobuf_increase_battery_level(void)
{
	uint32_t new_level = current_battery_level + 5;
	if (new_level > 100) {
		new_level = 100;
	}
	protobuf_set_battery_level(new_level);
}

void protobuf_decrease_battery_level(void)
{
	uint32_t new_level;
	if (current_battery_level >= 5) {
		new_level = current_battery_level - 5;
	} else {
		new_level = 0;
	}
	protobuf_set_battery_level(new_level);
}

void protobuf_send_battery_notification(void)
{
	// Create a battery status notification message
	mentraos_ble_GlassesToPhone notification = mentraos_ble_GlassesToPhone_init_default;
	
	// Set which_payload to battery_status (tag 10)
	notification.which_payload = 10;
	
	// Fill battery status with current level
	notification.payload.battery_status.level = current_battery_level;
	notification.payload.battery_status.charging = false;
	
	// Encode the notification
	uint8_t buffer[64]; // Small buffer for battery notification
	size_t bytes_written;
	
	if (encode_glasses_to_phone_message(&notification, buffer + 1, 
					   sizeof(buffer) - 1, &bytes_written)) {
		// Add the 0x02 header for protobuf messages
		buffer[0] = 0x02;
		
		// Send via BLE (to all connected clients)
		int ret = mentra_ble_send(NULL, buffer, bytes_written + 1);
		if (ret == 0) {
			LOG_INF("📱✅ Sent battery level notification: %u%%", current_battery_level);
		} else {
			LOG_WRN("📱❌ Failed to send battery notification (ret: %d)", ret);
		}
	} else {
		LOG_ERR("❌ Failed to encode battery notification");
	}
}

int protobuf_generate_echo_response(const uint8_t *input_data, uint16_t input_len,
   uint8_t *output_data, uint16_t max_output_len)
{
	// Create a simple response message
	mentraos_ble_GlassesToPhone response = mentraos_ble_GlassesToPhone_init_default;
	
	// Set which_payload to battery_status (tag 10) - simpler than device_info
	response.which_payload = 10;
	
	// Create a battery status response using current battery level
	response.payload.battery_status.level = current_battery_level;
	response.payload.battery_status.charging = false;
	
	// Encode the response
	size_t bytes_written;
	if (encode_glasses_to_phone_message(&response, output_data + 1, 
					   max_output_len - 1, &bytes_written)) {
		// Add the 0x02 header for protobuf messages
		output_data[0] = 0x02;
		
		LOG_INF("✅ Generated protobuf echo response: %zu + 1 bytes (Battery: %u%%)", 
			bytes_written, current_battery_level);
		return bytes_written + 1;
	} else {
		LOG_ERR("❌ Failed to generate protobuf response");
		return -ENOMEM;
	}
}
```

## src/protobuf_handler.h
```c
/*
 * Copyright (c) 2024 Mentra
 *
 * SPDX-License-Identifier: Apache-2.0
 */

#ifndef PROTOBUF_HANDLER_H_
#define PROTOBUF_HANDLER_H_

#include <zephyr/types.h>
#include <pb_decode.h>
#include <pb_encode.h>
#include "mentraos_ble.pb.h"

#ifdef __cplusplus
extern "C" {
#endif

/**
 * @brief Analyze incoming BLE message and determine protocol type
 *
 * @param data Pointer to received data
 * @param len Length of received data
 */
void protobuf_analyze_message(const uint8_t *data, uint16_t len);

/**
 * @brief Parse protobuf control message (header 0x02) using nanopb
 *
 * @param protobuf_data Pointer to protobuf data (after 0x02 header)
 * @param len Length of protobuf data
 */
void protobuf_parse_control_message(const uint8_t *protobuf_data, uint16_t len);

/**
 * @brief Decode PhoneToGlasses message using nanopb
 *
 * @param data Pointer to protobuf data
 * @param len Length of protobuf data
 * @param msg Pointer to message structure to fill
 * @return true if decoding successful, false otherwise
 */
bool decode_phone_to_glasses_message(const uint8_t *data, uint16_t len, 
                                    mentraos_ble_PhoneToGlasses *msg);

/**
 * @brief Encode GlassesToPhone message using nanopb
 *
 * @param msg Pointer to message structure to encode
 * @param buffer Pointer to output buffer
 * @param buffer_size Size of output buffer
 * @param bytes_written Pointer to store number of bytes written
 * @return true if encoding successful, false otherwise
 */
bool encode_glasses_to_phone_message(const mentraos_ble_GlassesToPhone *msg,
                                    uint8_t *buffer, size_t buffer_size,
                                    size_t *bytes_written);

/**
 * @brief Parse audio chunk message (header 0xA0)
 *
 * @param data Pointer to complete message data (including 0xA0 header)
 * @param len Length of complete message
 */
void protobuf_parse_audio_chunk(const uint8_t *data, uint16_t len);

/**
 * @brief Parse image chunk message (header 0xB0)
 *
 * @param data Pointer to complete message data (including 0xB0 header)
 * @param len Length of complete message
 */
void protobuf_parse_image_chunk(const uint8_t *data, uint16_t len);

/**
 * @brief Generate echo response message using protobuf
 *
 * @param input_data Pointer to input data
 * @param input_len Length of input data
 * @param output_data Pointer to output buffer
 * @param max_output_len Maximum length of output buffer
 * @return Length of generated response, or negative error code
 */
int protobuf_generate_echo_response(const uint8_t *input_data, uint16_t input_len,
   uint8_t *output_data, uint16_t max_output_len);

/**
 * @brief Get current battery level
 *
 * @return Current battery level (0-100%)
 */
uint32_t protobuf_get_battery_level(void);

/**
 * @brief Set battery level
 *
 * @param level Battery level (0-100%, will be clamped)
 */
void protobuf_set_battery_level(uint32_t level);

/**
 * @brief Increase battery level by 5%
 */
void protobuf_increase_battery_level(void);

/**
 * @brief Decrease battery level by 5%
 */
void protobuf_decrease_battery_level(void);

/**
 * @brief Send proactive battery level notification via BLE
 */
void protobuf_send_battery_notification(void);

#ifdef __cplusplus
}
#endif

#endif /* PROTOBUF_HANDLER_H_ */
```
